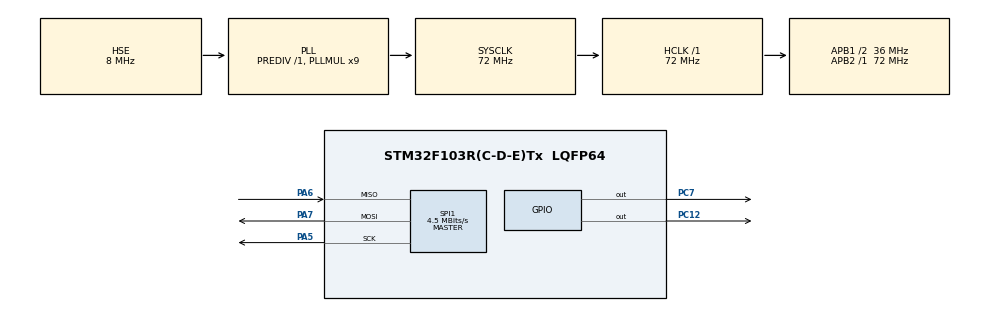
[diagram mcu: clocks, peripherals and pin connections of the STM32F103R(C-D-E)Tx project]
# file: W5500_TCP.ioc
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Mcu.Family=STM32F1
Mcu.Name=STM32F103R(C-D-E)Tx
Mcu.Package=LQFP64
NVIC.PriorityGroup=NVIC_PRIORITYGROUP_4
PA13.Mode=Serial_Wire
PA13.Signal=SYS_JTMS-SWDIO
PA14.Mode=Serial_Wire
PA14.Signal=SYS_JTCK-SWCLK
PA5.Mode=Full_Duplex_Master
PA5.Signal=SPI1_SCK
PA6.Mode=Full_Duplex_Master
PA6.Signal=SPI1_MISO
PA7.Mode=Full_Duplex_Master
PA7.Signal=SPI1_MOSI
PC12.Signal=GPIO_Output
PC7.Signal=GPIO_Output
PD0-OSC_IN.Mode=HSE-External-Oscillator
PD0-OSC_IN.Signal=RCC_OSC_IN
PD1-OSC_OUT.Mode=HSE-External-Oscillator
PD1-OSC_OUT.Signal=RCC_OSC_OUT
ProjectManager.HeapSize=0x200
ProjectManager.StackSize=0x400
ProjectManager.TargetToolchain=MDK-ARM V5.32
RCC.AHBFreq_Value=72000000
RCC.APB1CLKDivider=RCC_HCLK_DIV2
RCC.APB1Freq_Value=36000000
RCC.APB1TimFreq_Value=72000000
RCC.APB2Freq_Value=72000000
RCC.APB2TimFreq_Value=72000000
RCC.HCLKFreq_Value=72000000
RCC.PLLMUL=RCC_PLL_MUL9
RCC.PLLSourceVirtual=RCC_PLLSOURCE_HSE
RCC.SYSCLKFreq_VALUE=72000000
RCC.SYSCLKSource=RCC_SYSCLKSOURCE_PLLCLK
RCC.USBFreq_Value=72000000
SPI1.BaudRatePrescaler=SPI_BAUDRATEPRESCALER_16
SPI1.CalculateBaudRate=4.5 MBits/s
SPI1.Direction=SPI_DIRECTION_2LINES
SPI1.Mode=SPI_MODE_MASTER
SPI1.VirtualType=VM_MASTER
board=custom

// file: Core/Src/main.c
/* USER CODE BEGIN Header */
/**
  ******************************************************************************
  * @file           : main.c
  * @brief          : Main program body
  ******************************************************************************
  * @attention
  *
  * Copyright (c) 2026 STMicroelectronics.
  * All rights reserved.
  *
  * This software is licensed under terms that can be found in the LICENSE file
  * in the root directory of this software component.
  * If no LICENSE file comes with this software, it is provided AS-IS.
  *
  ******************************************************************************
  */
/* USER CODE END Header */
#include "main.h"
#include "w5500_port.h"
#include "w5500.h"
#include "socket.h"
#include <string.h>

/* USER CODE BEGIN PM */
wiz_NetInfo gNetInfo =
{
    .mac  = {0x00, 0x08, 0xDC, 0x11, 0x22, 0x33},	// 11:22:33 tu dat khong trung voi thiet bi khac trong mang
    .ip   = {169,254,133,145},
    .sn   = {255,255,0,0},
    .gw   = {0,0,0,0},
    .dns  = {0,0,0,0},
    .dhcp = NETINFO_STATIC
};
/* USER CODE END PM */

SPI_HandleTypeDef hspi1;

/* USER CODE BEGIN PV */
volatile uint8_t version = 0;
volatile uint8_t phy = 0;
volatile uint8_t mr = 0;
volatile uint8_t socket_status = 0;

volatile uint8_t socket_status;
uint8_t rxBuf[128];
int32_t recv_len;

/* USER CODE END PV */

void SystemClock_Config(void);
static void MX_GPIO_Init(void);
static void MX_SPI1_Init(void);

int main(void)
{

  /* MCU Configuration--------------------------------------------------------*/

  /* Reset of all peripherals, Initializes the Flash interface and the Systick. */
  HAL_Init();

  /* Configure the system clock */
  SystemClock_Config();

  /* Initialize all configured peripherals */
  MX_GPIO_Init();
  MX_SPI1_Init();
  /* USER CODE BEGIN 2 */
	W5500_Init();
  /* USER CODE END 2 */

	ctlnetwork(CN_SET_NETINFO, &gNetInfo);		// can set IP, MAC,... cho board
	ctlnetwork(CN_GET_NETINFO, &gNetInfo);		// doc lai cau hinh, de debug, ko quan trong

	version = getVERSIONR();
	phy = getPHYCFGR();					// Physical Layer, kiem tra cable connection
	mr = getMR();								// Mode Register

	socket(0, Sn_MR_TCP, 5000, 0);	// mo socket che do TCP
	socket_status = getSn_SR(0);		// doc trang thai socket 0, Sn = Socket n, SR = Status Register
	listen(0);

  /* Infinite loop */
  /* USER CODE BEGIN WHILE */
	HAL_GPIO_WritePin(GPIOC, GPIO_PIN_7, GPIO_PIN_SET);
	HAL_GPIO_WritePin(GPIOC, GPIO_PIN_12, GPIO_PIN_SET);
	static uint8_t link_old = 0xFF;
	uint8_t link_now;
	static uint32_t tick = 0;

	while (1)
	{
			link_now = (getPHYCFGR() & PHYCFGR_LNK_ON) ? 1 : 0;

			/* Phat hien thay doi trang thai */
			if(link_now != link_old)
			{
					link_old = link_now;

					if(!link_now)
					{
							close(0);
					}

			}

			/* Hien thi LED */
			if(link_now)
			{
					if(HAL_GetTick() - tick >= 100)
					{
							tick = HAL_GetTick();
							HAL_GPIO_TogglePin(GPIOC, GPIO_PIN_7);
					}
			}
			else
			{
					HAL_GPIO_WritePin(GPIOC, GPIO_PIN_7, GPIO_PIN_SET);
			}
			switch(getSn_SR(0))
			{
					case SOCK_CLOSED:
							socket(0, Sn_MR_TCP, 5000, 0);
							break;

					case SOCK_INIT:
							listen(0);
							break;

					case SOCK_LISTEN:
							// Рang ch? Client
							break;

					case SOCK_ESTABLISHED:

							if(getSn_RX_RSR(0) > 0)
							{
									recv_len = recv(0, rxBuf, sizeof(rxBuf));

									if(recv_len > 0)
									{
											if(recv_len < sizeof(rxBuf))
											{
													rxBuf[recv_len] = '\0';
											}

											send(0, rxBuf, recv_len);
									}
							}

							break;

					case SOCK_CLOSE_WAIT:
							disconnect(0);
							close(0);
							break;
			}
	}
  /* USER CODE END 3 */
}

void SystemClock_Config(void)
{
  RCC_OscInitTypeDef RCC_OscInitStruct = {0};
  RCC_ClkInitTypeDef RCC_ClkInitStruct = {0};

  /** Initializes the RCC Oscillators according to the specified parameters
  * in the RCC_OscInitTypeDef structure.
  */
  RCC_OscInitStruct.OscillatorType = RCC_OSCILLATORTYPE_HSE;
  RCC_OscInitStruct.HSEState = RCC_HSE_ON;
  RCC_OscInitStruct.HSEPredivValue = RCC_HSE_PREDIV_DIV1;
  RCC_OscInitStruct.HSIState = RCC_HSI_ON;
  RCC_OscInitStruct.PLL.PLLState = RCC_PLL_ON;
  RCC_OscInitStruct.PLL.PLLSource = RCC_PLLSOURCE_HSE;
  RCC_OscInitStruct.PLL.PLLMUL = RCC_PLL_MUL9;
  if (HAL_RCC_OscConfig(&RCC_OscInitStruct) != HAL_OK)
  {
    Error_Handler();
  }

  /** Initializes the CPU, AHB and APB buses clocks
  */
  RCC_ClkInitStruct.ClockType = RCC_CLOCKTYPE_HCLK|RCC_CLOCKTYPE_SYSCLK
                              |RCC_CLOCKTYPE_PCLK1|RCC_CLOCKTYPE_PCLK2;
  RCC_ClkInitStruct.SYSCLKSource = RCC_SYSCLKSOURCE_PLLCLK;
  RCC_ClkInitStruct.AHBCLKDivider = RCC_SYSCLK_DIV1;
  RCC_ClkInitStruct.APB1CLKDivider = RCC_HCLK_DIV2;
  RCC_ClkInitStruct.APB2CLKDivider = RCC_HCLK_DIV1;

  if (HAL_RCC_ClockConfig(&RCC_ClkInitStruct, FLASH_LATENCY_2) != HAL_OK)
  {
    Error_Handler();
  }
}

static void MX_SPI1_Init(void)
{

  /* SPI1 parameter configuration*/
  hspi1.Instance = SPI1;
  hspi1.Init.Mode = SPI_MODE_MASTER;
  hspi1.Init.Direction = SPI_DIRECTION_2LINES;
  hspi1.Init.DataSize = SPI_DATASIZE_8BIT;
  hspi1.Init.CLKPolarity = SPI_POLARITY_LOW;
  hspi1.Init.CLKPhase = SPI_PHASE_1EDGE;
  hspi1.Init.NSS = SPI_NSS_SOFT;
  hspi1.Init.BaudRatePrescaler = SPI_BAUDRATEPRESCALER_16;
  hspi1.Init.FirstBit = SPI_FIRSTBIT_MSB;
  hspi1.Init.TIMode = SPI_TIMODE_DISABLE;
  hspi1.Init.CRCCalculation = SPI_CRCCALCULATION_DISABLE;
  hspi1.Init.CRCPolynomial = 10;
  if (HAL_SPI_Init(&hspi1) != HAL_OK)
  {
    Error_Handler();
  }

}

static void MX_GPIO_Init(void)
{
  GPIO_InitTypeDef GPIO_InitStruct = {0};

  /* GPIO Ports Clock Enable */
  __HAL_RCC_GPIOD_CLK_ENABLE();
  __HAL_RCC_GPIOA_CLK_ENABLE();
  __HAL_RCC_GPIOB_CLK_ENABLE();
	__HAL_RCC_GPIOC_CLK_ENABLE();

	  /*Configure GPIO pin Output Level */
  HAL_GPIO_WritePin(W5500_CS_GPIO_Port, W5500_CS_Pin, GPIO_PIN_RESET);

  /*Configure GPIO pin Output Level */
  HAL_GPIO_WritePin(W5500_RST_GPIO_Port, W5500_RST_Pin, GPIO_PIN_RESET);

  /*Configure GPIO pin Output Level */
  HAL_GPIO_WritePin(GPIOC, GPIO_PIN_7|GPIO_PIN_12, GPIO_PIN_RESET);

  /*Configure GPIO pins : PC7 PC12 */
  GPIO_InitStruct.Pin = GPIO_PIN_7|GPIO_PIN_12;
  GPIO_InitStruct.Mode = GPIO_MODE_OUTPUT_PP;
  GPIO_InitStruct.Pull = GPIO_NOPULL;
  GPIO_InitStruct.Speed = GPIO_SPEED_FREQ_LOW;
  HAL_GPIO_Init(GPIOC, &GPIO_InitStruct);

  /* USER CODE BEGIN MX_GPIO_Init_2 */
  /*Configure GPIO pin : W5500_CS_Pin */
  GPIO_InitStruct.Pin = W5500_CS_Pin;
  GPIO_InitStruct.Mode = GPIO_MODE_OUTPUT_PP;
  GPIO_InitStruct.Pull = GPIO_NOPULL;
  GPIO_InitStruct.Speed = GPIO_SPEED_FREQ_HIGH;
  HAL_GPIO_Init(W5500_CS_GPIO_Port, &GPIO_InitStruct);

  /*Configure GPIO pin : W5500_RST_Pin */
  GPIO_InitStruct.Pin = W5500_RST_Pin;
  GPIO_InitStruct.Mode = GPIO_MODE_OUTPUT_PP;
  GPIO_InitStruct.Pull = GPIO_NOPULL;
  GPIO_InitStruct.Speed = GPIO_SPEED_FREQ_HIGH;
  HAL_GPIO_Init(W5500_RST_GPIO_Port, &GPIO_InitStruct);

  /*Configure GPIO pin : W5500_INT_Pin */
  GPIO_InitStruct.Pin = W5500_INT_Pin;
  GPIO_InitStruct.Mode = GPIO_MODE_INPUT;
  GPIO_InitStruct.Pull = GPIO_NOPULL;
  HAL_GPIO_Init(W5500_INT_GPIO_Port, &GPIO_InitStruct);
  /* USER CODE END MX_GPIO_Init_2 */
}

void Error_Handler(void)
{
  __disable_irq();
  while (1)
  {
  }
}
